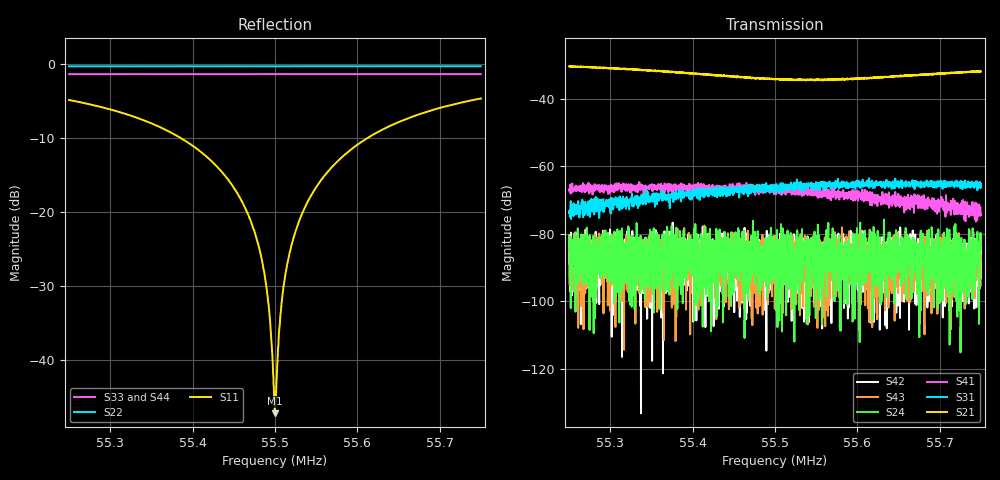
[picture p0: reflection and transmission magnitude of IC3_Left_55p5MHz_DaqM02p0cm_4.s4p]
#  HZ  S  DB  R  50.00
! Rohde & Schwarz Vector Network Analyzer
! Rohde-Schwarz,ZNB8-4Port,1311601044102961,2.82
! Created: UTC 2/13/2019, 9:01:28 AM
! freq[Hz]  db:S11  ang:S11  db:S12  ang:S12  db:S13  ang:S13  db:S14  ang:S14
!  db:S21  ang:S21  db:S22  ang:S22  db:S23  ang:S23  db:S24  ang:S24
!  db:S31  ang:S31  db:S32  ang:S32  db:S33  ang:S33  db:S34  ang:S34
!  db:S41  ang:S41  db:S42  ang:S42  db:S43  ang:S43  db:S44  ang:S44
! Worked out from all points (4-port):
!   2001 points, 55.25 MHz to 55.75 MHz, reference 50 ohm
!   strongest paths, dB at 55.25 MHz, 55.375 MHz, 55.5 MHz, 55.625 MHz, 55.75 MHz:
!     S21: -30.4, -31.9, -34.2, -33.8, -31.9
!     S31: -73.9, -68.9, -67.5, -65.3, -65.3
!     S41: -66.9, -67.7, -67.5, -70.0, -74.5
!     S24: -80.4, -86.0, -83.4, -84.7, -80.0
!     S43: -83.0, -86.0, -88.9, -82.9, -95.3
!     S42: -85.4, -82.7, -83.3, -93.4, -83.7
!   lowest |S11| = -47.2 dB at 55.4997 MHz (marker M1), VSWR 1.01, Z = 50.2 + j0.404 ohm
!   |S11| at or under -10 dB: 55.38541 MHz to 55.61251 MHz (227.1 kHz wide, 0.409 % of centre)
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5.525e7  -4.88 -158.1  -30.38 66.7  -72.78 -13.5  -65.70 -172.2
         -30.38 66.4  -0.32 94.3  -89.98 -124.8  -80.40 -149.4
         -73.87 -13.6  -90.48 89.8  -1.39 34.9  -94.86 63.2
         -66.92 -173.6  -85.38 2.0  -82.98 89.6  -1.38 28.5
5.544525e7  -15.97 160.4  -33.27 61.8  -67.05 -49.2  -66.16 156.5
            -33.32 62.7  -0.33 90.7  -89.23 -144.2  -89.75 -50.6
            -67.67 -53.7  -85.63 -167.0  -1.38 32.5  -88.31 -20.0
            -66.64 150.3  -89.81 162.8  -90.86 -97.2  -1.38 26.1
5.548325e7  -26.03 147.2  -33.99 65.7  -66.16 -50.8  -68.13 140.6
            -33.95 64.4  -0.33 90.1  -83.90 -129.8  -85.73 139.0
            -66.98 -55.9  -84.58 -162.1  -1.38 32.1  -94.14 -162.8
            -67.07 146.5  -91.24 -51.0  -90.65 -62.6  -1.37 25.6
5.549975e7  -47.15 66.5  -34.16 67.1  -65.74 -55.9  -67.22 145.8
            -34.24 66.4  -0.33 89.7  -83.39 56.1  -84.05 43.0
            -65.43 -62.0  -93.62 -111.2  -1.38 31.9  -84.95 44.0
            -67.87 143.6  -85.48 -75.2  -102.19 -32.5  -1.37 25.4
5.551675e7  -26.02 -29.4  -34.21 68.8  -65.36 -59.4  -67.90 142.9
            -34.44 68.9  -0.32 89.4  -84.61 48.3  -89.53 178.5
            -66.29 -57.9  -89.21 23.3  -1.38 31.7  -90.95 133.5
            -67.46 147.4  -84.52 -138.8  -85.78 138.1  -1.37 25.2
5.55545e7  -15.90 -43.0  -34.41 74.5  -66.01 -65.7  -66.72 134.1
           -34.35 74.2  -0.32 88.8  -83.66 115.9  -85.96 -39.8
           -65.54 -69.0  -90.52 -59.8  -1.38 31.3  -87.55 115.2
           -69.08 135.0  -81.94 124.8  -90.86 -116.9  -1.37 24.7
5.575e7  -4.67 -86.4  -31.84 83.2  -65.46 -104.2  -72.96 108.0
         -31.87 83.3  -0.32 85.1  -76.96 -68.3  -79.97 46.5
         -65.30 -102.4  -86.41 -127.1  -1.38 28.9  -88.28 -73.4
         -74.47 105.8  -83.75 -131.4  -95.28 -99.6  -1.37 22.3
